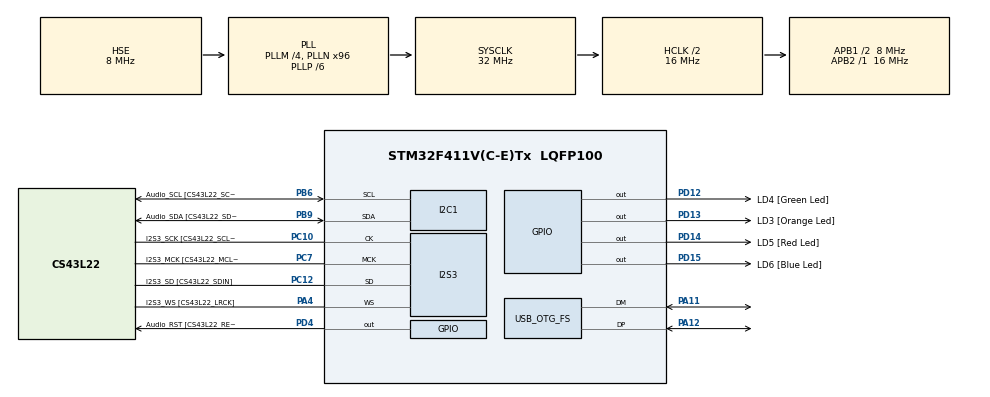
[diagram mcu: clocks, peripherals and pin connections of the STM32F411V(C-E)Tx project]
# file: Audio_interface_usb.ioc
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Dma.Request0=SPI3_TX
Dma.SPI3_TX.0.Direction=DMA_MEMORY_TO_PERIPH
Dma.SPI3_TX.0.FIFOMode=DMA_FIFOMODE_ENABLE
Dma.SPI3_TX.0.FIFOThreshold=DMA_FIFO_THRESHOLD_FULL
Dma.SPI3_TX.0.Instance=DMA1_Stream5
Dma.SPI3_TX.0.MemBurst=DMA_MBURST_SINGLE
Dma.SPI3_TX.0.MemDataAlignment=DMA_MDATAALIGN_HALFWORD
Dma.SPI3_TX.0.MemInc=DMA_MINC_ENABLE
Dma.SPI3_TX.0.Mode=DMA_CIRCULAR
Dma.SPI3_TX.0.PeriphBurst=DMA_PBURST_SINGLE
Dma.SPI3_TX.0.PeriphDataAlignment=DMA_PDATAALIGN_HALFWORD
Dma.SPI3_TX.0.PeriphInc=DMA_PINC_DISABLE
Dma.SPI3_TX.0.Priority=DMA_PRIORITY_LOW
I2S3.AudioFreq=I2S_AUDIOFREQ_48K
I2S3.ErrorAudioFreq=1.72 %
I2S3.FullDuplexMode=I2S_FULLDUPLEXMODE_DISABLE
I2S3.Instance=SPI$Index
I2S3.RealAudioFreq=48.828 KHz
I2S3.VirtualMode=I2S_MODE_MASTER
Mcu.Family=STM32F4
Mcu.Name=STM32F411V(C-E)Tx
Mcu.Package=LQFP100
NVIC.DMA1_Stream5_IRQn=true\:0\:0\:false\:false\:true\:false\:true\:true
NVIC.OTG_FS_IRQn=true\:0\:0\:false\:false\:true\:false\:true\:true
NVIC.PriorityGroup=NVIC_PRIORITYGROUP_0
NVIC.SPI3_IRQn=true\:0\:0\:false\:false\:true\:true\:true\:true
PA11.Mode=Device_Only
PA11.Signal=USB_OTG_FS_DM
PA12.Mode=Device_Only
PA12.Signal=USB_OTG_FS_DP
PA4.GPIO_Label=I2S3_WS [CS43L22_LRCK]
PA4.GPIO_Mode=GPIO_MODE_AF_PP
PA4.GPIO_PuPd=GPIO_NOPULL
PA4.GPIO_Speed=GPIO_SPEED_FREQ_LOW
PA4.Mode=Half_Duplex_Master
PA4.Signal=I2S3_WS
PB6.GPIO_Label=Audio_SCL [CS43L22_SCL]
PB6.GPIO_Mode=GPIO_MODE_AF_OD
PB6.GPIO_Pu=GPIO_PULLUP
PB6.GPIO_PuPd=GPIO_NOPULL
PB6.GPIO_Speed=GPIO_SPEED_FREQ_LOW
PB6.Mode=I2C
PB6.Signal=I2C1_SCL
PB9.GPIO_Label=Audio_SDA [CS43L22_SDA]
PB9.GPIO_Mode=GPIO_MODE_AF_OD
PB9.GPIO_Pu=GPIO_PULLUP
PB9.GPIO_PuPd=GPIO_NOPULL
PB9.GPIO_Speed=GPIO_SPEED_FREQ_LOW
PB9.Mode=I2C
PB9.Signal=I2C1_SDA
PC10.GPIO_Label=I2S3_SCK [CS43L22_SCLK]
PC10.GPIO_Mode=GPIO_MODE_AF_PP
PC10.GPIO_PuPd=GPIO_NOPULL
PC10.GPIO_Speed=GPIO_SPEED_FREQ_LOW
PC10.Mode=Half_Duplex_Master
PC10.Signal=I2S3_CK
PC12.GPIO_Label=I2S3_SD [CS43L22_SDIN]
PC12.GPIO_Mode=GPIO_MODE_AF_PP
PC12.GPIO_PuPd=GPIO_NOPULL
PC12.GPIO_Speed=GPIO_SPEED_FREQ_LOW
PC12.Mode=Half_Duplex_Master
PC12.Signal=I2S3_SD
PC7.GPIO_Label=I2S3_MCK [CS43L22_MCLK]
PC7.GPIO_Mode=GPIO_MODE_AF_PP
PC7.GPIO_PuPd=GPIO_NOPULL
PC7.GPIO_Speed=GPIO_SPEED_FREQ_LOW
PC7.Mode=Master_Clock_Activated
PC7.Signal=I2S3_MCK
PD12.GPIO_Label=LD4 [Green Led]
PD12.GPIO_PuPd=GPIO_NOPULL
PD12.GPIO_Speed=GPIO_SPEED_FREQ_LOW
PD12.Signal=GPIO_Output
PD13.GPIO_Label=LD3 [Orange Led]
PD13.GPIO_PuPd=GPIO_NOPULL
PD13.GPIO_Speed=GPIO_SPEED_FREQ_LOW
PD13.Signal=GPIO_Output
PD14.GPIO_Label=LD5 [Red Led]
PD14.GPIO_PuPd=GPIO_NOPULL
PD14.GPIO_Speed=GPIO_SPEED_FREQ_LOW
PD14.Signal=GPIO_Output
PD15.GPIO_Label=LD6 [Blue Led]
PD15.GPIO_PuPd=GPIO_NOPULL
PD15.GPIO_Speed=GPIO_SPEED_FREQ_LOW
PD15.Signal=GPIO_Output
PD4.GPIO_Label=Audio_RST [CS43L22_RESET]
PD4.Signal=GPIO_Output
PH0\ -\ OSC_IN.Mode=HSE-External-Oscillator
PH0\ -\ OSC_IN.Signal=RCC_OSC_IN
PH1\ -\ OSC_OUT.Mode=HSE-External-Oscillator
PH1\ -\ OSC_OUT.Signal=RCC_OSC_OUT
ProjectManager.HeapSize=0x200
ProjectManager.StackSize=0x400
ProjectManager.TargetToolchain=STM32CubeIDE
RCC.48MHZClocksFreq_Value=48000000
RCC.AHBCLKDivider=RCC_SYSCLK_DIV2
RCC.AHBFreq_Value=16000000
RCC.APB1CLKDivider=RCC_HCLK_DIV2
RCC.APB1Freq_Value=8000000
RCC.APB1TimFreq_Value=16000000
RCC.APB2Freq_Value=16000000
RCC.APB2TimFreq_Value=16000000
RCC.CortexFreq_Value=16000000
RCC.HCLKFreq_Value=16000000
RCC.HSE_VALUE=8000000
RCC.HSI_VALUE=16000000
RCC.LSE_VALUE=32768
RCC.PLLI2SM=8
RCC.PLLI2SN=100
RCC.PLLM=4
RCC.PLLN=96
RCC.PLLP=RCC_PLLP_DIV6
RCC.SYSCLKFreq_VALUE=32000000
RCC.SYSCLKSource=RCC_SYSCLKSOURCE_PLLCLK
RCC.VCOOutputFreq_Value=192000000
USB_DEVICE.CLASS_NAME_FS=AUDIO
USB_DEVICE.USBD_AUDIO_FREQ=48000
USB_DEVICE.VirtualMode=Audio
USB_DEVICE.VirtualModeFS=Audio_FS
USB_OTG_FS.VirtualMode=Device_Only
VP_USB_DEVICE_VS_USB_DEVICE_AUDIO_FS.Mode=AUDIO_FS
board=STM32F411E-DISCO

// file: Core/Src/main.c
/* USER CODE BEGIN Header */
/**
  ******************************************************************************
  * @file           : main.c
  * @brief          : Main program body
  ******************************************************************************
  * @attention
  *
  * Copyright (c) 2024 STMicroelectronics.
  * All rights reserved.
  *
  * This software is licensed under terms that can be found in the LICENSE file
  * in the root directory of this software component.
  * If no LICENSE file comes with this software, it is provided AS-IS.
  *
  ******************************************************************************
  */
/* USER CODE END Header */
#include "main.h"
#include "usb_device.h"

/* USER CODE BEGIN Includes */
#include "MY_CS43L22.h"
#include <math.h>
/* USER CODE END Includes */

/* USER CODE BEGIN PD */
#define PI 3.14159f
//Sample rate and Output freq
#define F_SAMPLE		48000.0f
#define F_OUT				1500.0f
/* USER CODE END PD */

I2C_HandleTypeDef hi2c1;

I2S_HandleTypeDef hi2s3;
DMA_HandleTypeDef hdma_spi3_tx;

void SystemClock_Config(void);
static void MX_GPIO_Init(void);
static void MX_DMA_Init(void);
static void MX_I2C1_Init(void);
static void MX_I2S3_Init(void);

/* USER CODE BEGIN 0 */
float mySinVal;
float sample_dt;
uint16_t sample_N;
uint16_t i_t;

uint32_t myDacVal;

int16_t dataI2S[100];
/* USER CODE END 0 */

int main(void)
{
  /* USER CODE BEGIN 1 */
	sample_dt = F_OUT/F_SAMPLE;
	sample_N = F_SAMPLE/F_OUT;
  /* USER CODE END 1 */

  /* MCU Configuration--------------------------------------------------------*/

  /* Reset of all peripherals, Initializes the Flash interface and the Systick. */
  HAL_Init();

  /* Configure the system clock */
  SystemClock_Config();

  /* Initialize all configured peripherals */
  MX_GPIO_Init();
  MX_DMA_Init();
  MX_I2C1_Init();
  MX_I2S3_Init();
  MX_USB_DEVICE_Init();
  /* USER CODE BEGIN 2 */
	CS43_Init(hi2c1, MODE_I2S);
	CS43_SetVolume(20); //0 - 100,, 40
	CS43_Enable_RightLeft(CS43_RIGHT_LEFT);
	CS43_Start();
//Build Sine wave
	for(uint16_t i=0; i<sample_N; i++)
	{
		mySinVal = sinf(i*2*PI*sample_dt);
		dataI2S[i*2] = (mySinVal )*8000;    //Right data (0 2 4 6 8 10 12)
		dataI2S[i*2 + 1] =(mySinVal )*8000; //Left data  (1 3 5 7 9 11 13)
	}

	HAL_I2S_Transmit_DMA(&hi2s3, (uint16_t *)dataI2S, sample_N*2);
  /* USER CODE END 2 */

  /* Infinite loop */
  while (1)
  {

  }
}

void SystemClock_Config(void)
{
  RCC_OscInitTypeDef RCC_OscInitStruct = {0};
  RCC_ClkInitTypeDef RCC_ClkInitStruct = {0};

  /** Configure the main internal regulator output voltage
  */
  __HAL_RCC_PWR_CLK_ENABLE();
  __HAL_PWR_VOLTAGESCALING_CONFIG(PWR_REGULATOR_VOLTAGE_SCALE1);

  /** Initializes the RCC Oscillators according to the specified parameters
  * in the RCC_OscInitTypeDef structure.
  */
  RCC_OscInitStruct.OscillatorType = RCC_OSCILLATORTYPE_HSE;
  RCC_OscInitStruct.HSEState = RCC_HSE_ON;
  RCC_OscInitStruct.PLL.PLLState = RCC_PLL_ON;
  RCC_OscInitStruct.PLL.PLLSource = RCC_PLLSOURCE_HSE;
  RCC_OscInitStruct.PLL.PLLM = 4;
  RCC_OscInitStruct.PLL.PLLN = 96;
  RCC_OscInitStruct.PLL.PLLP = RCC_PLLP_DIV6;
  RCC_OscInitStruct.PLL.PLLQ = 4;
  if (HAL_RCC_OscConfig(&RCC_OscInitStruct) != HAL_OK)
  {
    Error_Handler();
  }

  /** Initializes the CPU, AHB and APB buses clocks
  */
  RCC_ClkInitStruct.ClockType = RCC_CLOCKTYPE_HCLK|RCC_CLOCKTYPE_SYSCLK
                              |RCC_CLOCKTYPE_PCLK1|RCC_CLOCKTYPE_PCLK2;
  RCC_ClkInitStruct.SYSCLKSource = RCC_SYSCLKSOURCE_PLLCLK;
  RCC_ClkInitStruct.AHBCLKDivider = RCC_SYSCLK_DIV2;
  RCC_ClkInitStruct.APB1CLKDivider = RCC_HCLK_DIV2;
  RCC_ClkInitStruct.APB2CLKDivider = RCC_HCLK_DIV1;

  if (HAL_RCC_ClockConfig(&RCC_ClkInitStruct, FLASH_LATENCY_0) != HAL_OK)
  {
    Error_Handler();
  }
}

static void MX_I2C1_Init(void)
{

  hi2c1.Instance = I2C1;
  hi2c1.Init.ClockSpeed = 100000;
  hi2c1.Init.DutyCycle = I2C_DUTYCYCLE_2;
  hi2c1.Init.OwnAddress1 = 0;
  hi2c1.Init.AddressingMode = I2C_ADDRESSINGMODE_7BIT;
  hi2c1.Init.DualAddressMode = I2C_DUALADDRESS_DISABLE;
  hi2c1.Init.OwnAddress2 = 0;
  hi2c1.Init.GeneralCallMode = I2C_GENERALCALL_DISABLE;
  hi2c1.Init.NoStretchMode = I2C_NOSTRETCH_DISABLE;
  if (HAL_I2C_Init(&hi2c1) != HAL_OK)
  {
    Error_Handler();
  }

}

static void MX_I2S3_Init(void)
{

  hi2s3.Instance = SPI3;
  hi2s3.Init.Mode = I2S_MODE_MASTER_TX;
  hi2s3.Init.Standard = I2S_STANDARD_PHILIPS;
  hi2s3.Init.DataFormat = I2S_DATAFORMAT_16B;
  hi2s3.Init.MCLKOutput = I2S_MCLKOUTPUT_ENABLE;
  hi2s3.Init.AudioFreq = I2S_AUDIOFREQ_48K;
  hi2s3.Init.CPOL = I2S_CPOL_LOW;
  hi2s3.Init.ClockSource = I2S_CLOCK_PLL;
  hi2s3.Init.FullDuplexMode = I2S_FULLDUPLEXMODE_DISABLE;
  if (HAL_I2S_Init(&hi2s3) != HAL_OK)
  {
    Error_Handler();
  }

}

static void MX_DMA_Init(void)
{

  /* DMA controller clock enable */
  __HAL_RCC_DMA1_CLK_ENABLE();

  /* DMA interrupt init */
  /* DMA1_Stream5_IRQn interrupt configuration */
  HAL_NVIC_SetPriority(DMA1_Stream5_IRQn, 0, 0);
  HAL_NVIC_EnableIRQ(DMA1_Stream5_IRQn);

}

static void MX_GPIO_Init(void)
{
  GPIO_InitTypeDef GPIO_InitStruct = {0};

  /* GPIO Ports Clock Enable */
  __HAL_RCC_GPIOH_CLK_ENABLE();
  __HAL_RCC_GPIOA_CLK_ENABLE();
  __HAL_RCC_GPIOD_CLK_ENABLE();
  __HAL_RCC_GPIOC_CLK_ENABLE();
  __HAL_RCC_GPIOB_CLK_ENABLE();

  /*Configure GPIO pin Output Level */
  HAL_GPIO_WritePin(GPIOD, LD4_Pin|LD3_Pin|LD5_Pin|LD6_Pin
                          |Audio_RST_Pin, GPIO_PIN_RESET);

  /*Configure GPIO pins : LD4_Pin LD3_Pin LD5_Pin LD6_Pin
                           Audio_RST_Pin */
  GPIO_InitStruct.Pin = LD4_Pin|LD3_Pin|LD5_Pin|LD6_Pin
                          |Audio_RST_Pin;
  GPIO_InitStruct.Mode = GPIO_MODE_OUTPUT_PP;
  GPIO_InitStruct.Pull = GPIO_NOPULL;
  GPIO_InitStruct.Speed = GPIO_SPEED_FREQ_LOW;
  HAL_GPIO_Init(GPIOD, &GPIO_InitStruct);

}

void Error_Handler(void)
{
  __disable_irq();
  while (1)
  {
  }
}
